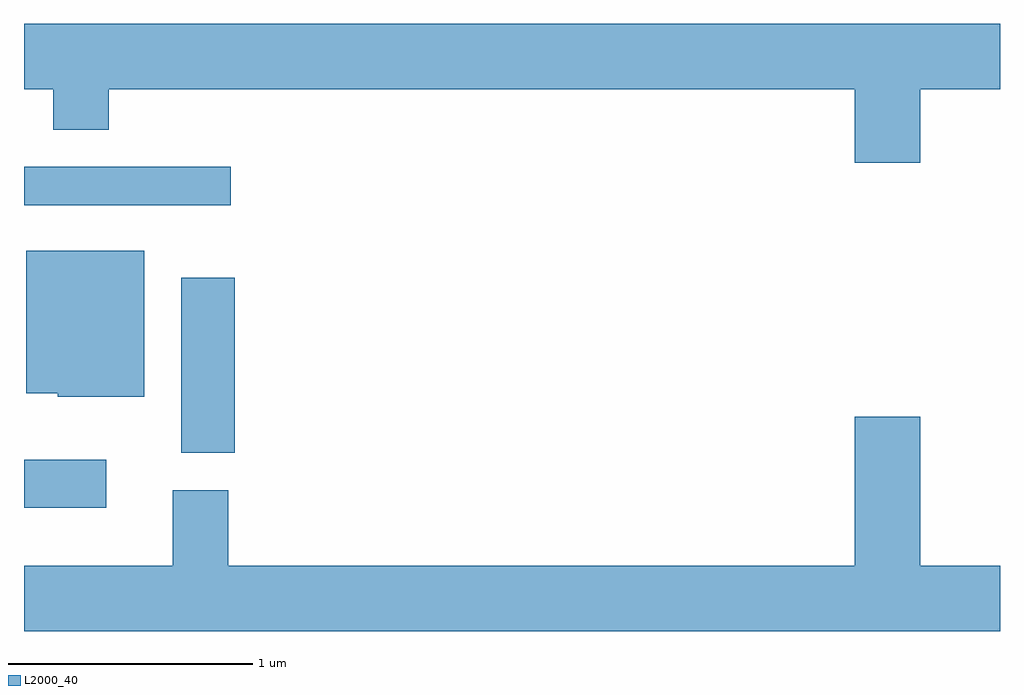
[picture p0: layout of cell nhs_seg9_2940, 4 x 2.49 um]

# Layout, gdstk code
import gdstk
lib = gdstk.Library(unit=1e-6, precision=1e-09)
def R(c, l, rs):  # rectangles x0, y0, x1, y1
    for r in rs: c.add(gdstk.rectangle(r[:2], r[2:], *l))
def P(c, l, *ps):  # polygons
    for p in ps: c.add(gdstk.Polygon(p, *l))
L2000_40 = (2000, 40)

nhs_seg9_2940 = lib.new_cell('nhs_seg9_2940')
R(nhs_seg9_2940, L2000_40, [(271.611,1985.661,271.949,1985.859), (272.256,1985.886,272.474,1986.604), (271.611,1986.901,272.458,1987.059)])
P(nhs_seg9_2940, L2000_40, [(275.284,1987.376),(275.611,1987.376),(275.611,1987.644),(271.611,1987.644),(271.611,1987.376),(271.731,1987.376),(271.731,1987.211),(271.959,1987.211),(271.959,1987.376),(275.016,1987.376),(275.016,1987.076),(275.284,1987.076)],
  [(272.104,1986.714),(271.621,1986.714),(271.621,1986.131),(271.75,1986.131),(271.75,1986.116),(272.104,1986.116)],
  [(275.611,1985.424),(275.284,1985.424),(275.284,1986.034),(275.016,1986.034),(275.016,1985.424),(272.449,1985.424),(272.449,1985.734),(272.221,1985.734),(272.221,1985.424),(271.611,1985.424),(271.611,1985.156),(275.611,1985.156)])

lib.write_gds('nhs_seg9_2940.gds')
